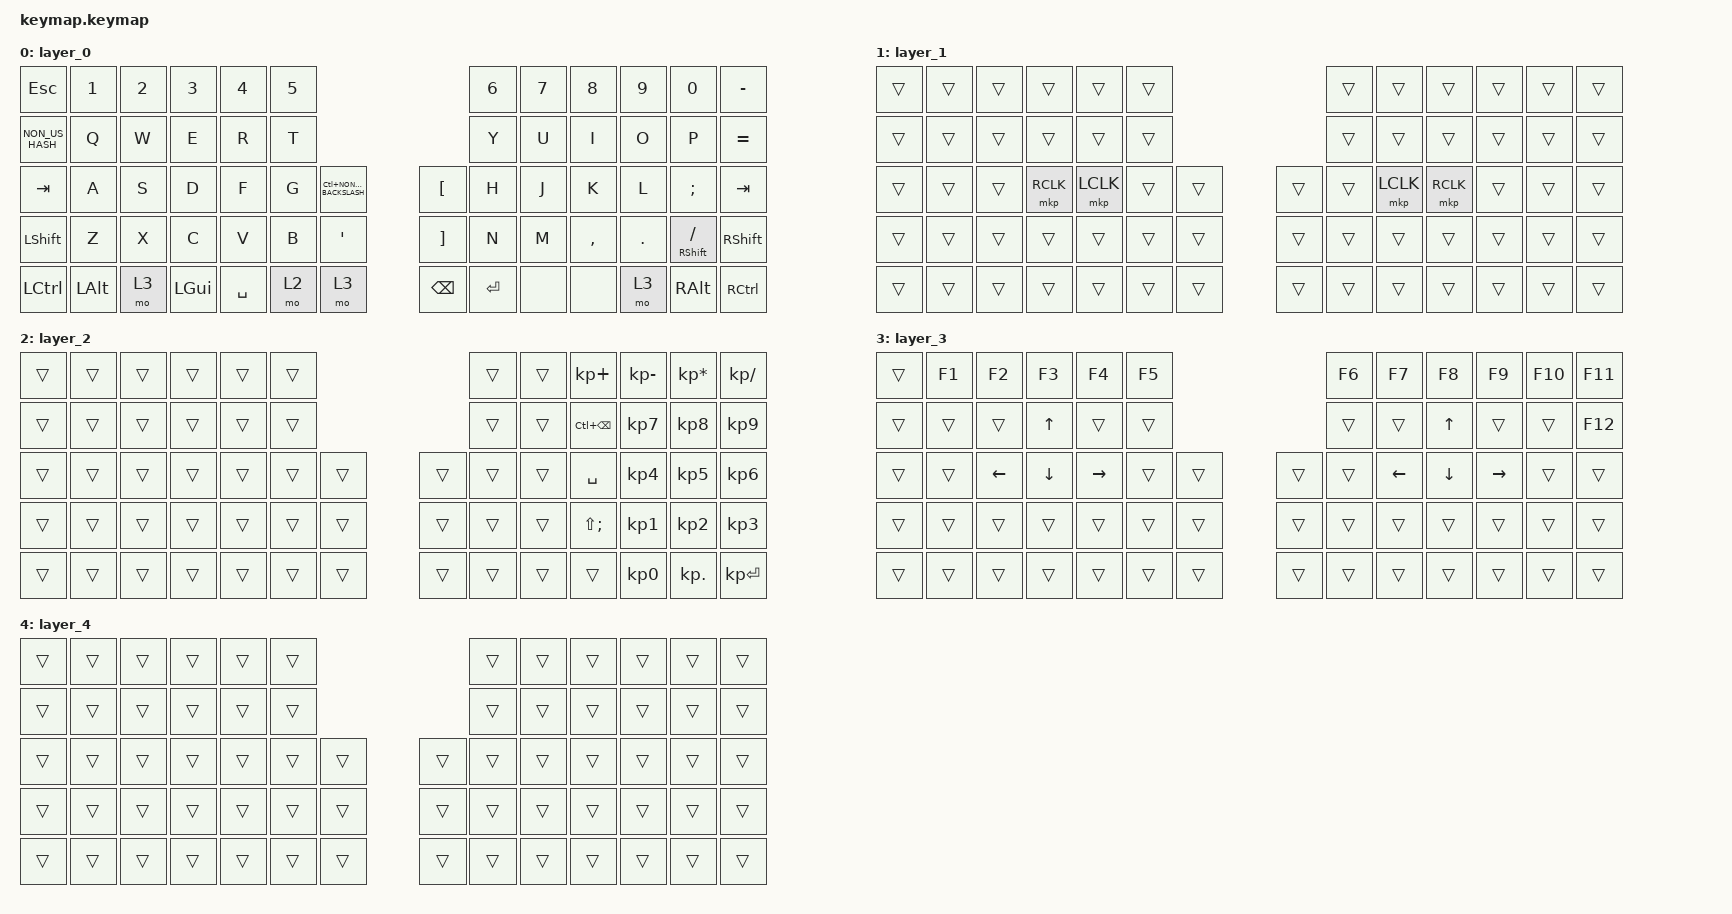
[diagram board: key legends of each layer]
#include <behaviors.dtsi>
#include <dt-bindings/zmk/keys.h>
#include <dt-bindings/zmk/pointing.h>

/ {
    combos {
        compatible = "zmk,combos";

        combo_lclk {
            bindings = <&mkp LCLK>;
            key-positions = <33 34>;
            layers = <0>;
        };

        combo_rclk {
            bindings = <&mkp RCLK>;
            key-positions = <34 35>;
            layers = <0>;
        };

        combo_scroll {
            bindings = <&mo 1>;
            key-positions = <47 48>;
        };
    };

    keymap {
        compatible = "zmk,keymap";

        layer_0 {
            bindings = <
&kp ESC          &kp N1        &kp N2  &kp N3        &kp N4     &kp N5                                               &kp N6     &kp N7  &kp N8     &kp N9   &kp N0                &kp MINUS
&kp NON_US_HASH  &kp Q         &kp W   &kp E         &kp R      &kp T                                                &kp Y      &kp U   &kp I      &kp O    &kp P                 &kp EQUAL
&kp TAB          &kp A         &kp S   &kp D         &kp F      &kp G   &kp LC(NON_US_BACKSLASH)  &kp LEFT_BRACKET   &kp H      &kp J   &kp K      &kp L    &kp SEMI              &kp TAB
&kp LSHFT        &kp Z         &kp X   &kp C         &kp V      &kp B   &kp SQT                   &kp RIGHT_BRACKET  &kp N      &kp M   &kp COMMA  &kp DOT  &mt RIGHT_SHIFT FSLH  &kp RSHFT
&kp LCTRL        &kp LEFT_ALT  &mo 3   &kp LEFT_GUI  &kp SPACE  &mo 2   &mo 3                     &kp BACKSPACE      &kp ENTER  &none   &none      &mo 3    &kp RIGHT_ALT         &kp RCTRL
            >;
        };

        layer_1 {
            bindings = <
&trans  &trans  &trans  &trans     &trans     &trans                  &trans  &trans     &trans     &trans  &trans  &trans
&trans  &trans  &trans  &trans     &trans     &trans                  &trans  &trans     &trans     &trans  &trans  &trans
&trans  &trans  &trans  &mkp RCLK  &mkp LCLK  &trans  &trans  &trans  &trans  &mkp LCLK  &mkp RCLK  &trans  &trans  &trans
&trans  &trans  &trans  &trans     &trans     &trans  &trans  &trans  &trans  &trans     &trans     &trans  &trans  &trans
&trans  &trans  &trans  &trans     &trans     &trans  &trans  &trans  &trans  &trans     &trans     &trans  &trans  &trans
            >;
        };

        layer_2 {
            bindings = <
&trans  &trans  &trans  &trans  &trans  &trans                  &trans  &trans  &kp KP_PLUS        &kp KP_MINUS  &kp KP_MULTIPLY  &kp KP_DIVIDE
&trans  &trans  &trans  &trans  &trans  &trans                  &trans  &trans  &kp LC(BACKSPACE)  &kp KP_N7     &kp KP_N8        &kp KP_N9
&trans  &trans  &trans  &trans  &trans  &trans  &trans  &trans  &trans  &trans  &kp SPACE          &kp KP_N4     &kp KP_N5        &kp KP_N6
&trans  &trans  &trans  &trans  &trans  &trans  &trans  &trans  &trans  &trans  &kp LS(SEMICOLON)  &kp KP_N1     &kp KP_N2        &kp KP_N3
&trans  &trans  &trans  &trans  &trans  &trans  &trans  &trans  &trans  &trans  &trans             &kp KP_N0     &kp KP_DOT       &kp KP_ENTER
            >;
        };

        layer_3 {
            bindings = <
&trans  &kp F1  &kp F2          &kp F3          &kp F4           &kp F5                  &kp F6  &kp F7    &kp F8          &kp F9     &kp F10  &kp F11
&trans  &trans  &trans          &kp UP_ARROW    &trans           &trans                  &trans  &trans    &kp UP_ARROW    &trans     &trans   &kp F12
&trans  &trans  &kp LEFT_ARROW  &kp DOWN_ARROW  &kp RIGHT_ARROW  &trans  &trans  &trans  &trans  &kp LEFT  &kp DOWN_ARROW  &kp RIGHT  &trans   &trans
&trans  &trans  &trans          &trans          &trans           &trans  &trans  &trans  &trans  &trans    &trans          &trans     &trans   &trans
&trans  &trans  &trans          &trans          &trans           &trans  &trans  &trans  &trans  &trans    &trans          &trans     &trans   &trans
            >;
        };

        layer_4 {
            bindings = <
&trans  &trans  &trans  &trans  &trans  &trans                  &trans  &trans  &trans  &trans  &trans  &trans
&trans  &trans  &trans  &trans  &trans  &trans                  &trans  &trans  &trans  &trans  &trans  &trans
&trans  &trans  &trans  &trans  &trans  &trans  &trans  &trans  &trans  &trans  &trans  &trans  &trans  &trans
&trans  &trans  &trans  &trans  &trans  &trans  &trans  &trans  &trans  &trans  &trans  &trans  &trans  &trans
&trans  &trans  &trans  &trans  &trans  &trans  &trans  &trans  &trans  &trans  &trans  &trans  &trans  &trans
            >;
        };
    };
};
